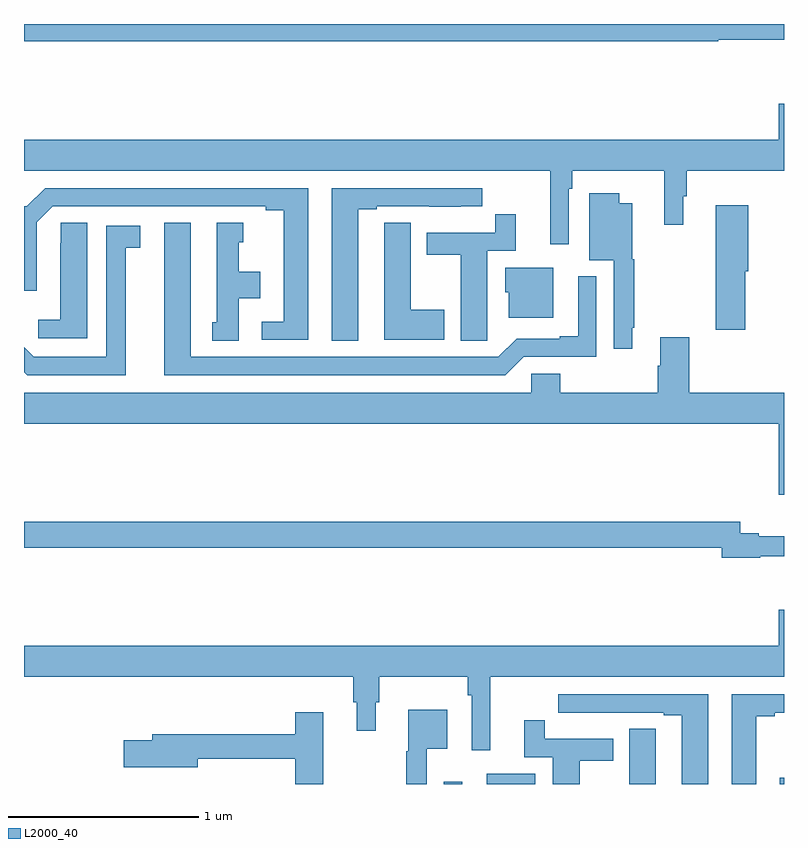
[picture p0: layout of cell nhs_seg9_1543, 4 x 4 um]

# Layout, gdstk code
import gdstk
lib = gdstk.Library(unit=1e-6, precision=1e-09)
def R(c, l, rs):  # rectangles x0, y0, x1, y1
    for r in rs: c.add(gdstk.rectangle(r[:2], r[2:], *l))
def P(c, l, *ps):  # polygons
    for p in ps: c.add(gdstk.Polygon(p, *l))
L2000_40 = (2000, 40)

nhs_seg9_1543 = lib.new_cell('nhs_seg9_1543')
R(nhs_seg9_1543, L2000_40, [(199.209,1218.5,199.306,1218.511), (199.436,1218.5,199.69,1218.553), (200.978,1218.5,201,1218.532)])
P(nhs_seg9_1543, L2000_40, [(200.655,1222.416),(201,1222.416),(201,1222.5),(197,1222.5),(197,1222.408),(200.655,1222.408)],
  [(199.866,1221.632),(199.886,1221.632),(199.886,1221.728),(200.371,1221.728),(200.371,1221.444),(200.47,1221.444),(200.47,1221.594),(200.489,1221.594),(200.489,1221.728),(201,1221.728),(201,1222.081),(200.972,1222.081),(200.972,1221.892),(197,1221.892),(197,1221.728),(199.769,1221.728),(199.769,1221.342),(199.866,1221.342)],
  [(198.76,1221.525),(198.856,1221.525),(198.856,1221.54),(199.132,1221.54),(199.132,1221.539),(199.298,1221.539),(199.298,1221.54),(199.411,1221.54),(199.411,1221.636),(198.62,1221.636),(198.62,1220.833),(198.76,1220.833)],
  [(198.496,1221.636),(197.111,1221.636),(197.015,1221.54),(197,1221.54),(197,1221.096),(197.067,1221.096),(197.067,1221.456),(197.151,1221.54),(198.272,1221.54),(198.272,1221.52),(198.368,1221.52),(198.368,1220.934),(198.252,1220.934),(198.252,1220.838),(198.496,1220.838)],
  [(200.2,1220.902),(200.212,1220.902),(200.212,1221.261),(200.2,1221.261),(200.2,1221.556),(200.134,1221.556),(200.134,1221.61),(199.976,1221.61),(199.976,1221.257),(200.103,1221.257),(200.103,1220.79),(200.2,1220.79)],
  [(200.795,1221.198),(200.813,1221.198),(200.813,1221.547),(200.642,1221.547),(200.642,1221.198),(200.641,1221.198),(200.641,1220.892),(200.795,1220.892)],
  [(199.437,1220.944),(199.438,1220.944),(199.438,1221.306),(199.589,1221.306),(199.589,1221.499),(199.48,1221.499),(199.48,1221.402),(199.121,1221.402),(199.121,1221.286),(199.298,1221.286),(199.298,1220.833),(199.437,1220.833)],
  [(199.213,1220.997),(199.036,1220.997),(199.036,1221.455),(198.897,1221.455),(198.897,1221.347),(198.896,1221.347),(198.896,1220.837),(199.213,1220.837)],
  [(197.332,1221.455),(197.193,1221.455),(197.193,1221.347),(197.192,1221.347),(197.192,1220.944),(197.076,1220.944),(197.076,1220.847),(197.332,1220.847)],
  [(199.629,1220.748),(200.013,1220.748),(200.013,1221.172),(199.916,1221.172),(199.916,1220.857),(199.82,1220.857),(199.82,1220.844),(199.593,1220.844),(199.497,1220.748),(197.878,1220.748),(197.878,1221.454),(197.738,1221.454),(197.738,1220.652),(199.533,1220.652)],
  [(198.13,1221.056),(198.244,1221.056),(198.244,1221.196),(198.13,1221.196),(198.13,1221.351),(198.154,1221.351),(198.154,1221.454),(198.014,1221.454),(198.014,1220.931),(197.99,1220.931),(197.99,1220.833),(198.13,1220.833)],
  [(197.536,1221.322),(197.611,1221.322),(197.611,1221.438),(197.432,1221.438),(197.432,1220.748),(197.052,1220.748),(197,1220.8),(197,1220.668),(197.016,1220.652),(197.536,1220.652)],
  [(199.786,1221.217),(199.532,1221.217),(199.532,1221.087),(199.55,1221.087),(199.55,1220.954),(199.786,1220.954)],
  [(201,1220.56),(200.501,1220.56),(200.501,1220.851),(200.348,1220.851),(200.348,1220.702),(200.336,1220.702),(200.336,1220.56),(199.823,1220.56),(199.823,1220.658),(199.671,1220.658),(199.671,1220.56),(197,1220.56),(197,1220.396),(200.972,1220.396),(200.972,1220.022),(201,1220.022)],
  [(200.876,1219.699),(201,1219.699),(201,1219.803),(200.866,1219.803),(200.866,1219.82),(200.769,1219.82),(200.769,1219.88),(197,1219.88),(197,1219.744),(200.673,1219.744),(200.673,1219.692),(200.876,1219.692)],
  [(197,1219.064),(198.733,1219.064),(198.733,1218.93),(198.752,1218.93),(198.752,1218.78),(198.85,1218.78),(198.85,1218.93),(198.869,1218.93),(198.869,1219.064),(199.336,1219.064),(199.336,1218.968),(199.356,1218.968),(199.356,1218.678),(199.454,1218.678),(199.454,1219.064),(201,1219.064),(201,1219.417),(200.972,1219.417),(200.972,1219.228),(197,1219.228)],
  [(200.854,1218.856),(200.95,1218.856),(200.95,1218.876),(201,1218.876),(201,1218.972),(200.726,1218.972),(200.726,1218.5),(200.854,1218.5)],
  [(200.602,1218.972),(199.812,1218.972),(199.812,1218.876),(199.924,1218.876),(199.924,1218.875),(200.09,1218.875),(200.09,1218.876),(200.366,1218.876),(200.366,1218.861),(200.462,1218.861),(200.462,1218.5),(200.602,1218.5)],
  [(199.119,1218.686),(199.228,1218.686),(199.228,1218.892),(199.022,1218.892),(199.022,1218.672),(199.011,1218.672),(199.011,1218.5),(199.119,1218.5)],
  [(198.574,1218.877),(198.428,1218.877),(198.428,1218.763),(197.675,1218.763),(197.675,1218.729),(197.526,1218.729),(197.526,1218.587),(197.914,1218.587),(197.914,1218.634),(198.428,1218.634),(198.428,1218.5),(198.574,1218.5)],
  [(199.924,1218.622),(200.101,1218.622),(200.101,1218.738),(199.742,1218.738),(199.742,1218.835),(199.634,1218.835),(199.634,1218.642),(199.784,1218.642),(199.784,1218.5),(199.924,1218.5)],
  [(200.326,1218.683),(200.325,1218.683),(200.325,1218.791),(200.186,1218.791),(200.186,1218.5),(200.326,1218.5)])

lib.write_gds('nhs_seg9_1543.gds')
